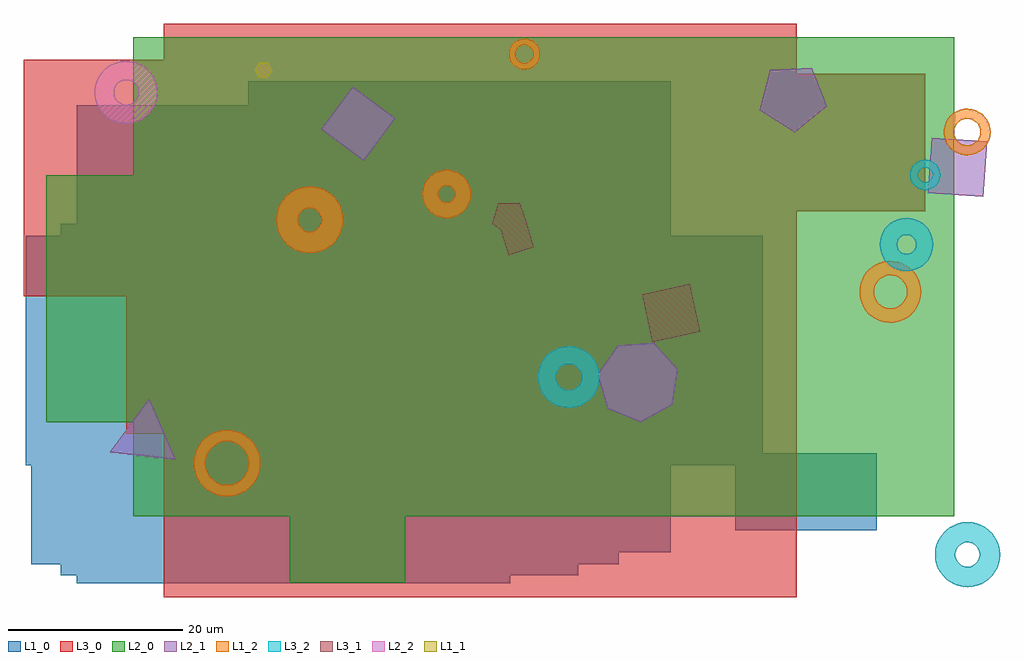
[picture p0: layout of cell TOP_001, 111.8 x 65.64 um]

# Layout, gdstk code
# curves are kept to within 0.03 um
import gdstk
lib = gdstk.Library(unit=1e-6, precision=1e-09)
def R(c, l, rs):  # rectangles x0, y0, x1, y1
    for r in rs: c.add(gdstk.rectangle(r[:2], r[2:], *l))
def P(c, l, *ps):  # polygons
    for p in ps: c.add(gdstk.Polygon(p, *l))
L1_0 = (1, 0)
L1_1 = (1, 1)
L1_2 = (1, 2)
L2_0 = (2, 0)
L2_1 = (2, 1)
L2_2 = (2, 2)
L3_0 = (3, 0)
L3_1 = (3, 1)
L3_2 = (3, 2)

top_001 = lib.new_cell('TOP_001')
R(top_001, L1_0, [(11.257,9.796,60.861,64.594), (9.372,10.739,68.681,51.016), (6.025,11.999,73.328,44.41), (30.872,13.392,79.273,67.32), (86.666,15.881,102.868,24.723), (5.39,23.337,89.823,49.598), (27.396,23.479,83.937,49.397), (19.397,37.006,34.218,50.185), (22.352,54.248,45.648,63.362)])
P(top_001, L1_1, [(33.103,67.69),(33.626,68.546),(33.147,69.427),(32.144,69.452),(31.62,68.596),(32.1,67.715)])
P(top_001, L1_2, [(62.774,68.678),(63.121,68.768),(63.443,68.926),(63.727,69.145),(63.96,69.417),(64.134,69.731),(64.242,70.073),(64.278,70.429),(64.242,70.786),(64.134,71.128),(63.96,71.442),(63.727,71.714),(63.443,71.933),(63.121,72.091),(62.774,72.181),(62.416,72.199),(62.062,72.145),(61.726,72.02),(61.421,71.831),(61.162,71.584),(60.957,71.289),(60.815,70.96),(60.743,70.429),(61.467,70.429),(61.502,70.698),(61.606,70.949),(61.771,71.164),(61.987,71.329),(62.237,71.433),(62.506,71.469),(62.775,71.433),(63.026,71.329),(63.241,71.164),(63.406,70.949),(63.51,70.698),(63.545,70.429),(63.51,70.16),(63.406,69.91),(63.241,69.695),(63.026,69.529),(62.775,69.426),(62.506,69.39),(62.237,69.426),(61.987,69.529),(61.771,69.695),(61.606,69.91),(61.502,70.16),(61.467,70.429),(60.743,70.429),(60.815,69.899),(60.957,69.57),(61.162,69.275),(61.421,69.028),(61.726,68.839),(62.062,68.714),(62.416,68.66)],
  [(28.99,19.79),(29.521,19.905),(30.031,20.095),(30.509,20.356),(30.944,20.682),(31.329,21.067),(31.655,21.502),(31.916,21.98),(32.106,22.49),(32.221,23.021),(32.26,23.564),(32.221,24.107),(32.106,24.638),(31.916,25.148),(31.655,25.626),(31.329,26.061),(30.944,26.446),(30.509,26.772),(30.031,27.033),(29.521,27.223),(28.99,27.338),(28.447,27.377),(27.904,27.338),(27.373,27.223),(26.863,27.033),(26.385,26.772),(25.95,26.446),(25.565,26.061),(25.239,25.626),(24.978,25.148),(24.788,24.638),(24.673,24.107),(24.634,23.564),(25.959,23.564),(25.997,23.996),(26.11,24.415),(26.293,24.808),(26.541,25.163),(26.848,25.47),(27.203,25.718),(27.596,25.901),(28.015,26.014),(28.447,26.052),(28.879,26.014),(29.298,25.901),(29.691,25.718),(30.046,25.47),(30.352,25.163),(30.601,24.808),(30.784,24.415),(30.897,23.996),(30.934,23.564),(30.897,23.132),(30.784,22.713),(30.601,22.32),(30.352,21.965),(30.046,21.659),(29.691,21.41),(29.298,21.227),(28.879,21.114),(28.447,21.077),(28.015,21.114),(27.596,21.227),(27.203,21.41),(26.848,21.659),(26.541,21.965),(26.293,22.32),(26.11,22.713),(25.997,23.132),(25.959,23.564),(24.634,23.564),(24.673,23.021),(24.788,22.49),(24.978,21.98),(25.239,21.502),(25.565,21.067),(25.95,20.682),(26.385,20.356),(26.863,20.095),(27.373,19.905),(27.904,19.79),(28.447,19.751)],
  [(113.789,58.876),(114.224,59.009),(114.63,59.214),(114.995,59.484),(115.31,59.813),(115.564,60.189),(115.752,60.604),(115.866,61.044),(115.905,61.497),(115.866,61.95),(115.752,62.39),(115.564,62.805),(115.31,63.181),(114.995,63.51),(114.63,63.78),(114.224,63.985),(113.789,64.118),(113.338,64.176),(112.883,64.156),(112.439,64.061),(112.017,63.891),(111.63,63.653),(111.288,63.352),(111.003,62.998),(110.781,62.601),(110.629,62.173),(110.552,61.497),(111.703,61.497),(111.741,61.835),(111.854,62.157),(112.035,62.445),(112.276,62.686),(112.564,62.867),(112.886,62.979),(113.224,63.018),(113.562,62.979),(113.884,62.867),(114.172,62.686),(114.413,62.445),(114.594,62.157),(114.706,61.835),(114.744,61.497),(114.706,61.159),(114.594,60.837),(114.413,60.549),(114.172,60.308),(113.884,60.127),(113.562,60.015),(113.224,59.976),(112.886,60.015),(112.564,60.127),(112.276,60.308),(112.035,60.549),(111.854,60.837),(111.741,61.159),(111.703,61.497),(110.552,61.497),(110.629,60.821),(110.781,60.393),(111.003,59.996),(111.288,59.642),(111.63,59.341),(112.017,59.103),(112.439,58.933),(112.883,58.838),(113.338,58.818)],
  [(38.477,47.647),(39.01,47.763),(39.522,47.954),(40.002,48.216),(40.439,48.543),(40.825,48.93),(41.153,49.367),(41.415,49.847),(41.606,50.358),(41.722,50.892),(41.761,51.437),(41.722,51.982),(41.606,52.516),(41.415,53.028),(41.153,53.507),(40.825,53.945),(40.439,54.331),(40.002,54.658),(39.522,54.92),(39.01,55.111),(38.477,55.227),(37.932,55.266),(37.387,55.227),(36.853,55.111),(36.341,54.92),(35.862,54.658),(35.424,54.331),(35.038,53.945),(34.71,53.507),(34.449,53.028),(34.258,52.516),(34.142,51.982),(34.114,51.28),(36.586,51.28),(36.586,51.594),(36.659,51.9),(36.8,52.181),(37.002,52.422),(37.254,52.61),(37.543,52.735),(37.853,52.789),(38.167,52.771),(38.468,52.681),(38.74,52.524),(38.969,52.308),(39.142,52.045),(39.25,51.75),(39.286,51.437),(39.25,51.125),(39.142,50.829),(38.969,50.567),(38.74,50.351),(38.468,50.194),(38.167,50.103),(37.853,50.085),(37.543,50.14),(37.254,50.264),(37.002,50.452),(36.8,50.693),(36.659,50.974),(36.586,51.28),(34.114,51.28),(34.142,50.892),(34.258,50.358),(34.449,49.847),(34.71,49.367),(35.038,48.93),(35.424,48.543),(35.862,48.216),(36.341,47.954),(36.853,47.763),(37.387,47.647),(37.932,47.608)],
  [(54.282,51.711),(54.715,51.86),(55.117,52.077),(55.478,52.358),(55.788,52.695),(56.039,53.078),(56.222,53.497),(56.335,53.941),(56.372,54.397),(56.335,54.853),(56.222,55.296),(56.039,55.715),(55.788,56.098),(55.478,56.435),(55.117,56.716),(54.715,56.934),(54.282,57.082),(53.831,57.158),(53.373,57.158),(52.922,57.082),(52.489,56.934),(52.087,56.716),(51.725,56.435),(51.416,56.098),(51.165,55.715),(50.981,55.296),(50.869,54.853),(50.842,54.267),(52.656,54.267),(52.656,54.527),(52.726,54.777),(52.861,54.999),(53.051,55.177),(53.282,55.297),(53.537,55.35),(53.796,55.332),(54.041,55.245),(54.254,55.095),(54.418,54.893),(54.522,54.654),(54.557,54.397),(54.522,54.139),(54.418,53.9),(54.254,53.699),(54.041,53.549),(53.796,53.462),(53.537,53.444),(53.282,53.497),(53.051,53.616),(52.861,53.794),(52.726,54.016),(52.656,54.267),(50.842,54.267),(50.869,53.941),(50.981,53.497),(51.165,53.078),(51.416,52.695),(51.725,52.358),(52.087,52.077),(52.489,51.86),(52.922,51.711),(53.373,51.636),(53.831,51.636)],
  [(104.819,39.676),(105.327,39.769),(105.815,39.936),(106.275,40.172),(106.695,40.473),(107.066,40.831),(107.382,41.24),(107.635,41.69),(107.819,42.172),(107.931,42.676),(107.969,43.191),(107.931,43.706),(107.819,44.21),(107.635,44.693),(107.382,45.143),(107.066,45.552),(106.695,45.91),(106.275,46.21),(105.815,46.446),(105.327,46.613),(104.819,46.707),(104.303,46.726),(103.79,46.669),(103.29,46.539),(102.815,46.337),(102.374,46.068),(101.977,45.738),(101.633,45.353),(101.348,44.922),(101.129,44.455),(100.98,43.96),(100.905,43.449),(100.905,43.001),(102.557,43.001),(102.557,43.382),(102.633,43.756),(102.784,44.106),(103.002,44.419),(103.278,44.682),(103.602,44.884),(103.96,45.016),(104.337,45.074),(104.718,45.055),(105.087,44.959),(105.429,44.791),(105.731,44.558),(105.979,44.268),(106.165,43.935),(106.279,43.571),(106.317,43.191),(106.279,42.812),(106.165,42.448),(105.979,42.114),(105.731,41.825),(105.429,41.591),(105.087,41.424),(104.718,41.328),(104.337,41.309),(103.96,41.366),(103.602,41.499),(103.278,41.701),(103.002,41.963),(102.784,42.276),(102.633,42.627),(102.557,43.001),(100.905,43.001),(100.905,42.933),(100.98,42.422),(101.129,41.928),(101.348,41.46),(101.633,41.03),(101.977,40.645),(102.374,40.315),(102.815,40.046),(103.29,39.844),(103.79,39.713),(104.303,39.657)])
R(top_001, L2_0, [(35.646,9.859,48.831,59.133), (17.688,17.5,111.744,72.377), (7.726,28.253,101.956,56.56), (78.363,29.758,80.027,44.192)])
P(top_001, L2_1, [(22.558,23.97),(19.508,30.947),(14.991,24.817)],
  [(115.092,54.078),(115.507,60.433),(109.153,60.849),(108.737,54.494)],
  [(95.429,68.887),(90.684,68.613),(89.479,64.015),(93.479,61.448),(97.157,64.459)],
  [(47.7,63.072),(42.828,66.676),(39.224,61.803),(44.097,58.2)],
  [(73.257,37.101),(70.901,33.746),(72.056,29.812),(75.851,28.262),(79.43,30.263),(80.096,34.308),(77.349,37.351)])
P(top_001, L2_2, [(17.285,62.469),(17.802,62.565),(18.3,62.735),(18.768,62.975),(19.196,63.281),(19.575,63.647),(19.896,64.063),(20.154,64.522),(20.342,65.013),(20.456,65.527),(20.495,66.052),(20.456,66.576),(20.342,67.09),(20.154,67.581),(19.896,68.04),(19.575,68.457),(19.196,68.822),(18.768,69.128),(18.3,69.369),(17.802,69.539),(17.285,69.634),(16.759,69.653),(16.236,69.596),(15.727,69.463),(15.243,69.257),(14.793,68.983),(14.389,68.646),(14.038,68.254),(13.748,67.816),(13.524,67.339),(13.373,66.835),(13.296,66.315),(13.296,65.889),(15.498,65.889),(15.498,66.214),(15.573,66.531),(15.719,66.822),(15.928,67.071),(16.19,67.266),(16.488,67.395),(16.809,67.451),(17.134,67.432),(17.446,67.339),(17.728,67.176),(17.964,66.953),(18.143,66.681),(18.255,66.375),(18.292,66.052),(18.255,65.728),(18.143,65.423),(17.964,65.151),(17.728,64.927),(17.446,64.764),(17.134,64.671),(16.809,64.652),(16.488,64.709),(16.19,64.838),(15.928,65.032),(15.719,65.281),(15.573,65.572),(15.498,65.889),(13.296,65.889),(13.296,65.789),(13.373,65.268),(13.524,64.764),(13.748,64.288),(14.038,63.849),(14.389,63.457),(14.793,63.121),(15.243,62.846),(15.727,62.641),(16.236,62.508),(16.759,62.45)])
R(top_001, L3_0, [(21.209,8.235,93.722,73.876), (16.924,26.957,52.802,55.998), (52.288,37.549,68.798,50.829), (5.186,42.692,82.966,69.79), (51.249,52.412,108.44,68.196)])
P(top_001, L3_1, [(58.801,50.977),(60.842,49.579),(62.802,51.088),(61.973,53.419),(59.5,53.35)],
  [(77.165,37.441),(82.66,38.628),(81.473,44.123),(75.978,42.936)],
  [(60.702,47.412),(63.594,48.308),(62.698,51.2),(59.806,50.304)])
P(top_001, L3_2, [(113.795,9.414),(114.314,9.527),(114.811,9.713),(115.276,9.967),(115.701,10.285),(116.076,10.66),(116.394,11.085),(116.649,11.55),(116.834,12.048),(116.947,12.566),(116.985,13.095),(116.947,13.624),(116.834,14.143),(116.649,14.64),(116.394,15.106),(116.076,15.53),(115.701,15.906),(115.276,16.224),(114.811,16.478),(114.314,16.663),(113.795,16.776),(113.266,16.814),(112.737,16.776),(112.218,16.663),(111.721,16.478),(111.256,16.224),(110.831,15.906),(110.456,15.53),(110.138,15.106),(109.883,14.64),(109.698,14.143),(109.585,13.624),(109.559,12.933),(111.877,12.933),(111.877,13.258),(111.952,13.573),(112.098,13.864),(112.306,14.112),(112.567,14.306),(112.865,14.435),(113.185,14.491),(113.509,14.472),(113.82,14.379),(114.101,14.217),(114.337,13.994),(114.516,13.723),(114.627,13.418),(114.664,13.095),(114.627,12.773),(114.516,12.468),(114.337,12.196),(114.101,11.974),(113.82,11.811),(113.509,11.718),(113.185,11.699),(112.865,11.756),(112.567,11.884),(112.306,12.078),(112.098,12.327),(111.952,12.617),(111.877,12.933),(109.559,12.933),(109.585,12.566),(109.698,12.048),(109.883,11.55),(110.138,11.085),(110.456,10.66),(110.831,10.285),(111.256,9.967),(111.721,9.713),(112.218,9.527),(112.737,9.414),(113.266,9.377)],
  [(108.97,54.927),(109.305,55.076),(109.601,55.291),(109.846,55.563),(110.029,55.88),(110.142,56.228),(110.181,56.593),(110.142,56.957),(110.029,57.305),(109.846,57.622),(109.601,57.894),(109.305,58.11),(108.97,58.259),(108.612,58.335),(108.246,58.335),(107.888,58.259),(107.553,58.11),(107.257,57.894),(107.012,57.622),(106.829,57.305),(106.716,56.957),(106.69,56.469),(107.61,56.469),(107.61,56.716),(107.683,56.952),(107.822,57.156),(108.015,57.309),(108.245,57.4),(108.491,57.418),(108.731,57.363),(108.945,57.24),(109.113,57.059),(109.22,56.837),(109.257,56.593),(109.22,56.349),(109.113,56.126),(108.945,55.946),(108.731,55.822),(108.491,55.767),(108.245,55.786),(108.015,55.876),(107.822,56.03),(107.683,56.234),(107.61,56.469),(106.69,56.469),(106.716,56.228),(106.829,55.88),(107.012,55.563),(107.257,55.291),(107.553,55.076),(107.888,54.927),(108.246,54.851),(108.612,54.851)],
  [(106.763,45.601),(107.23,45.713),(107.673,45.897),(108.082,46.147),(108.447,46.459),(108.758,46.824),(109.009,47.233),(109.193,47.676),(109.305,48.143),(109.342,48.621),(109.305,49.099),(109.193,49.566),(109.009,50.009),(108.758,50.418),(108.447,50.783),(108.082,51.094),(107.673,51.345),(107.23,51.529),(106.763,51.641),(106.285,51.678),(105.806,51.641),(105.34,51.529),(104.897,51.345),(104.488,51.094),(104.123,50.783),(103.811,50.418),(103.561,50.009),(103.377,49.566),(103.265,49.099),(103.227,48.621),(105.215,48.621),(105.252,48.898),(105.358,49.156),(105.528,49.377),(105.75,49.547),(106.008,49.654),(106.285,49.691),(106.562,49.654),(106.82,49.547),(107.041,49.377),(107.211,49.156),(107.318,48.898),(107.354,48.621),(107.318,48.344),(107.211,48.086),(107.041,47.865),(106.82,47.695),(106.562,47.588),(106.285,47.551),(106.008,47.588),(105.75,47.695),(105.528,47.865),(105.358,48.086),(105.252,48.344),(105.215,48.621),(103.227,48.621),(103.265,48.143),(103.377,47.676),(103.561,47.233),(103.811,46.824),(104.123,46.459),(104.488,46.147),(104.897,45.897),(105.34,45.713),(105.806,45.601),(106.285,45.563)],
  [(67.988,29.912),(68.496,30.006),(68.984,30.172),(69.443,30.408),(69.862,30.709),(70.234,31.067),(70.549,31.475),(70.802,31.925),(70.986,32.407),(71.098,32.911),(71.136,33.425),(71.098,33.94),(70.986,34.444),(70.802,34.925),(70.549,35.375),(70.234,35.784),(69.862,36.142),(69.443,36.442),(68.984,36.678),(68.496,36.845),(67.988,36.938),(67.472,36.957),(66.96,36.901),(66.46,36.77),(65.985,36.569),(65.545,36.3),(65.148,35.97),(64.804,35.585),(64.519,35.155),(64.3,34.688),(64.152,34.194),(64.077,33.425),(66.112,33.425),(66.149,33.757),(66.259,34.072),(66.437,34.354),(66.673,34.59),(66.955,34.768),(67.27,34.878),(67.602,34.915),(67.933,34.878),(68.248,34.768),(68.531,34.59),(68.766,34.354),(68.944,34.072),(69.054,33.757),(69.092,33.425),(69.054,33.094),(68.944,32.779),(68.766,32.496),(68.531,32.26),(68.248,32.083),(67.933,31.973),(67.602,31.935),(67.27,31.973),(66.955,32.083),(66.673,32.26),(66.437,32.496),(66.259,32.779),(66.149,33.094),(66.112,33.425),(64.077,33.425),(64.152,32.657),(64.3,32.163),(64.519,31.695),(64.804,31.265),(65.148,30.881),(65.545,30.551),(65.985,30.282),(66.46,30.08),(66.96,29.95),(67.472,29.893)])

lib.write_gds('TOP_001.gds')
